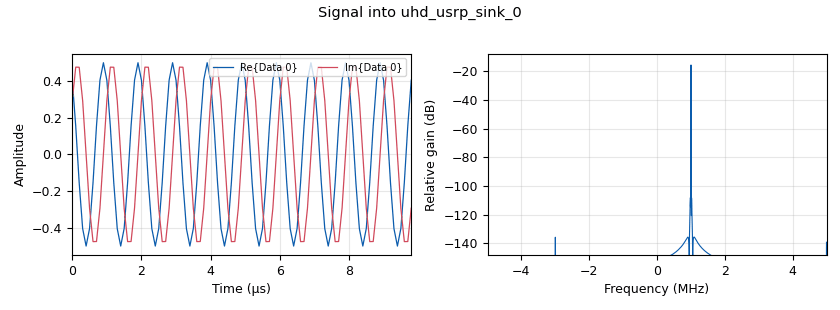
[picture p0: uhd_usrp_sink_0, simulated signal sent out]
options:
  parameters:
    generate_options: qt_gui
    id: transmitExample
    output_language: python
    title: Transmit Example
  states: {}

blocks:
- name: samp_rate
  id: variable
  parameters:
    value: '10000000'
  states: {}
- name: analog_sig_source_x_0
  id: analog_sig_source_x
  parameters:
    amp: '.5'
    freq: '1000000'
    offset: '0'
    phase: '0'
    samp_rate: samp_rate
    showports: 'True'
    type: complex
    waveform: analog.GR_COS_WAVE
  states: {}
- name: uhd_usrp_sink_0
  id: uhd_usrp_sink
  parameters:
    ant0: '"TX/RX"'
    center_freq0: '0'
    dev_addr: '"addr=192.168.10.2"'
    gain0: '0'
    samp_rate: samp_rate
    sync: sync
    type: fc32
  states: {}

connections:
- [analog_sig_source_x_0, '0', uhd_usrp_sink_0, '0']

metadata:
  file_format: 1
  grc_version: 3.10.7.0
